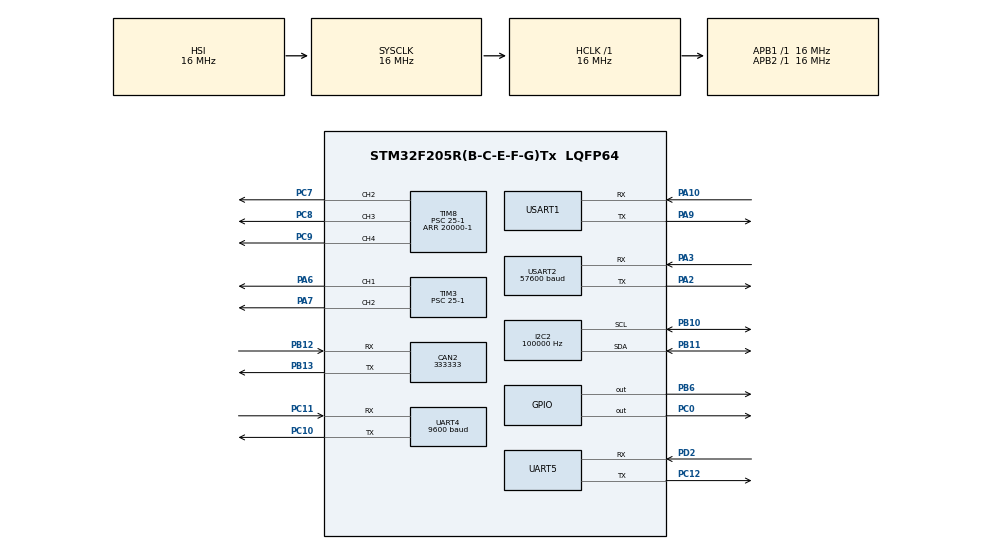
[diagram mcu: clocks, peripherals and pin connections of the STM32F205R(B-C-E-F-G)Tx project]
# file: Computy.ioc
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CAN2.CalculateBaudRate=333333
CAN2.CalculateTimeBit=3000
CAN2.CalculateTimeQuantum=1000.0
Dma.Request0=USART1_RX
Dma.USART1_RX.0.Direction=DMA_PERIPH_TO_MEMORY
Dma.USART1_RX.0.FIFOMode=DMA_FIFOMODE_DISABLE
Dma.USART1_RX.0.Instance=DMA2_Stream2
Dma.USART1_RX.0.MemDataAlignment=DMA_MDATAALIGN_BYTE
Dma.USART1_RX.0.MemInc=DMA_MINC_ENABLE
Dma.USART1_RX.0.Mode=DMA_CIRCULAR
Dma.USART1_RX.0.PeriphDataAlignment=DMA_PDATAALIGN_BYTE
Dma.USART1_RX.0.PeriphInc=DMA_PINC_DISABLE
Dma.USART1_RX.0.Priority=DMA_PRIORITY_VERY_HIGH
I2C2.ClockSpeed=100000
I2C2.DutyCycle=I2C_DUTYCYCLE_16_9
I2C2.I2C_Mode=I2C_Fast
I2C2.NoStretchMode=I2C_NOSTRETCH_DISABLE
Mcu.Family=STM32F2
Mcu.Name=STM32F205R(B-C-E-F-G)Tx
Mcu.Package=LQFP64
NVIC.DMA2_Stream2_IRQn=true\:0\:0\:false\:false\:true\:false\:true\:true
NVIC.PriorityGroup=NVIC_PRIORITYGROUP_4
NVIC.UART4_IRQn=true\:0\:0\:false\:false\:true\:true\:true\:true
NVIC.USART1_IRQn=true\:0\:0\:false\:false\:true\:true\:true\:true
NVIC.USART2_IRQn=true\:0\:0\:false\:false\:true\:true\:true\:true
PA10.Mode=Asynchronous
PA10.Signal=USART1_RX
PA13.Mode=Trace_Asynchronous_SW
PA13.Signal=SYS_JTMS-SWDIO
PA14.Mode=Trace_Asynchronous_SW
PA14.Signal=SYS_JTCK-SWCLK
PA2.Mode=Asynchronous
PA2.Signal=USART2_TX
PA3.Mode=Asynchronous
PA3.Signal=USART2_RX
PA6.Signal=S_TIM3_CH1
PA7.Signal=S_TIM3_CH2
PA9.Mode=Asynchronous
PA9.Signal=USART1_TX
PB10.GPIO_Pu=GPIO_PULLUP
PB10.GPIO_Speed=GPIO_SPEED_FREQ_LOW
PB10.Mode=I2C
PB10.Signal=I2C2_SCL
PB11.GPIO_Pu=GPIO_PULLUP
PB11.GPIO_Speed=GPIO_SPEED_FREQ_MEDIUM
PB11.Mode=I2C
PB11.Signal=I2C2_SDA
PB12.Mode=CAN_Activate
PB12.Signal=CAN2_RX
PB13.Mode=CAN_Activate
PB13.Signal=CAN2_TX
PB3.Mode=Trace_Asynchronous_SW
PB3.Signal=SYS_JTDO-SWO
PB6.GPIO_PuPd=GPIO_PULLUP
PB6.Signal=GPIO_Output
PC0.Signal=GPIO_Output
PC10.Mode=Asynchronous
PC10.Signal=UART4_TX
PC11.Mode=Asynchronous
PC11.Signal=UART4_RX
PC12.Mode=Asynchronous
PC12.Signal=UART5_TX
PC6.Signal=S_TIM8_CH1
PC7.Signal=S_TIM8_CH2
PC8.Signal=S_TIM8_CH3
PC9.Signal=S_TIM8_CH4
PD2.Mode=Asynchronous
PD2.Signal=UART5_RX
PH0-OSC_IN.Mode=HSE-External-Oscillator
PH0-OSC_IN.Signal=RCC_OSC_IN
PH1-OSC_OUT.Mode=HSE-External-Oscillator
PH1-OSC_OUT.Signal=RCC_OSC_OUT
ProjectManager.HeapSize=0x200
ProjectManager.StackSize=0x400
ProjectManager.TargetToolchain=STM32CubeIDE
RCC.48MHZClocksFreq_Value=48000000
RCC.AHBFreq_Value=16000000
RCC.APB1Freq_Value=16000000
RCC.APB1TimFreq_Value=16000000
RCC.APB2Freq_Value=16000000
RCC.APB2TimFreq_Value=16000000
RCC.CortexFreq_Value=16000000
RCC.HCLKFreq_Value=16000000
RCC.HSE_VALUE=25000000
RCC.HSI_VALUE=16000000
RCC.LSE_VALUE=32768
RCC.SYSCLKFreq_VALUE=16000000
RCC.VCOOutputFreq_Value=192000000
SH.S_TIM3_CH1.0=TIM3_CH1,PWM Generation1 CH1
SH.S_TIM3_CH2.0=TIM3_CH2,PWM Generation2 CH2
SH.S_TIM8_CH1.0=TIM8_CH1
SH.S_TIM8_CH2.0=TIM8_CH2,PWM Generation2 CH2
SH.S_TIM8_CH3.0=TIM8_CH3,PWM Generation3 CH3
SH.S_TIM8_CH4.0=TIM8_CH4,PWM Generation4 CH4
TIM2.Prescaler=25000-1
TIM3.Channel-PWM\ Generation1\ CH1=TIM_CHANNEL_1
TIM3.Channel-PWM\ Generation2\ CH2=TIM_CHANNEL_2
TIM3.Period=20000-1
TIM3.Prescaler=25-1
TIM3.Pulse-PWM\ Generation1\ CH1=1500
TIM3.Pulse-PWM\ Generation2\ CH2=1500
TIM8.Channel-PWM\ Generation2\ CH2=TIM_CHANNEL_2
TIM8.Channel-PWM\ Generation3\ CH3=TIM_CHANNEL_3
TIM8.Channel-PWM\ Generation4\ CH4=TIM_CHANNEL_4
TIM8.Period=20000-1
TIM8.Prescaler=25-1
TIM8.Pulse-PWM\ Generation2\ CH2=1500
TIM8.Pulse-PWM\ Generation3\ CH3=1500
TIM8.Pulse-PWM\ Generation4\ CH4=1500
UART4.BaudRate=9600
UART4.VirtualMode=Asynchronous
UART5.VirtualMode=Asynchronous
USART1.VirtualMode=VM_ASYNC
USART2.BaudRate=57600
USART2.VirtualMode=VM_ASYNC
VP_TIM2_VS_ClockSourceINT.Mode=Internal
VP_TIM3_VS_ClockSourceINT.Mode=Internal
VP_TIM8_VS_ClockSourceINT.Mode=Internal
board=custom

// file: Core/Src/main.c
/* USER CODE BEGIN Header */
/**
  ******************************************************************************
  * @file           : main.c
  * @brief          : Main program body
  ******************************************************************************<
  * @attention
  *
  * Copyright (c) 2025 STMicroelectronics.
  * All rights reserved.
  *
  * This software is licensed under terms that can be found in the LICENSE file
  * in the root directory of this software component.
  * If no LICENSE file comes with this software, it is provided AS-IS.
  *
  ******************************************************************************
  */
/* USER CODE END Header */
#include "main.h"

/* USER CODE BEGIN Includes */
#include "nmea_parse.h"
#include "bno055.h"
#include "quaternion.h"
#include "ibus.h"
#define ARM_MATH_CM3
#include "arm_math.h"
#include "kalman.h"
/* USER CODE END Includes */

CAN_HandleTypeDef hcan2;

I2C_HandleTypeDef hi2c2;

TIM_HandleTypeDef htim2;
TIM_HandleTypeDef htim3;
TIM_HandleTypeDef htim8;

UART_HandleTypeDef huart4;
UART_HandleTypeDef huart5;
UART_HandleTypeDef huart1;
UART_HandleTypeDef huart2;
DMA_HandleTypeDef hdma_usart1_rx;

/* USER CODE BEGIN PV */

// PARAMETERS
float kP_roll = 0.0110f;
float kI_roll = 0.0f;
float kD_roll = 0.0022f;
float kP_pitch = 0.0200f;
float kI_pitch = 0.0f;
float kD_pitch = 0.0040f;

float ELEVATOR_TRIM = 1472;
float AILERON_TRIM = 1472;
float RUDDER_TRIM = 1381;

uint16_t mission_n = 0;
float mission[50 * 3]; // max 50 missions with latitude, longitude and altitude

float radio_T = 0.030f;
float light_T = 1.000f;
float completion_r = 30.0f;

// COMMUNICATION VARIABLES

char rx_buff_gps[83]; // sentence buffer - NMEA messages are at most 82 chars long
char rx_char_gps;
int rx_i_gps = 0;
char nmea_sentence[83]; // actual sentence

GPS gps;
char lastMeasure[10];

uint8_t rx_buff_ibus[32]; // start - 14 channels - checksum (circular buffer)
uint16_t channels[14] = {1500, 1500, 1000, 1500, 0, 0, 0, 0, 0, 0, 0, 0, 0, 0};

uint8_t rx_buff_radio[10]; // package buffer: uint16_t header - uint16_t param_id - float value - 2x uint8_t checksum
char rx_char_radio;
int rx_i_radio = 0;

struct Packet p;

int16_t target_index = 0;

float target_lat = 0;
float target_long = 0;
float target_alt = 0;

// KALMAN FILTER

// Define two 2x2 matrices
float32_t dataA[4] = {1.0f, 2.0f,
                       3.0f, 4.0f};
float32_t dataB[4] = {5.0f, 6.0f,
                       7.0f, 8.0f};
float32_t dataC[4]; // output 2x2

// Matrix handles
arm_matrix_instance_f32 A, B, C;

/* USER CODE END PV */

void SystemClock_Config(void);
static void MX_GPIO_Init(void);
static void MX_DMA_Init(void);
static void MX_I2C2_Init(void);
static void MX_UART4_Init(void);
static void MX_TIM8_Init(void);
static void MX_TIM3_Init(void);
static void MX_USART1_UART_Init(void);
static void MX_TIM2_Init(void);
static void MX_CAN2_Init(void);
static void MX_USART2_UART_Init(void);
static void MX_UART5_Init(void);

int main(void)
{

  /* MCU Configuration--------------------------------------------------------*/

  /* Reset of all peripherals, Initializes the Flash interface and the Systick. */
  HAL_Init();

  /* Configure the system clock */
  SystemClock_Config();

  /* Initialize all configured peripherals */
  MX_GPIO_Init();
  MX_DMA_Init();
  MX_I2C2_Init();
  MX_UART4_Init();
  MX_TIM8_Init();
  MX_TIM3_Init();
  MX_USART1_UART_Init();
  MX_TIM2_Init();
  MX_CAN2_Init();
  MX_USART2_UART_Init();
  MX_UART5_Init();
  /* USER CODE BEGIN 2 */
  HAL_TIM_PWM_Start(&htim8, TIM_CHANNEL_2);
  HAL_TIM_PWM_Start(&htim8, TIM_CHANNEL_3);
  HAL_TIM_PWM_Start(&htim8, TIM_CHANNEL_4);

  HAL_TIM_PWM_Start(&htim3, TIM_CHANNEL_1);
  HAL_TIM_PWM_Start(&htim3, TIM_CHANNEL_2);

  HAL_TIM_Base_Start(&htim2);  // Start TIM2 in polling mode

  BNO055_Handle_t bno055;
  BNO055_Quaternion_t quat;
  BNO055_LinearAccel_t accel;
  BNO055_Euler_t euler;
  BNO055_AngularVelocity_t ang_vel;

  // Initialize BNO055
  HAL_Delay(500); // NECESSARY delay
  HAL_StatusTypeDef ret;
  ret = BNO055_Init(&bno055, &hi2c2, BNO055_I2C_ADDR1);

  if(ret != HAL_OK)
  {
      // Handle error
  }

  uint32_t error;

  // Set GNSS frequency to 10Hz
  const uint8_t gnss_10hz[] = {0xB5, 0x62, 0x06, 0x08, 0x06, 0x00, 0x64, 0x00, 0x01, 0x00, 0x01, 0x00, 0x7A, 0x12};
  const uint8_t gnss_5hz[]  = {0xB5, 0x62, 0x06, 0x08, 0x06, 0x00, 0xC8, 0x00, 0x01, 0x00, 0x01, 0x00, 0xF0, 0x0D};
  const uint8_t gnss_2hz[]  = {0xB5, 0x62, 0x06, 0x08, 0x06, 0x00, 0xF4, 0x01, 0x01, 0x00, 0x01, 0x00, 0x22, 0x6A};
  const uint8_t gnss_1hz[]  = {0xB5, 0x62, 0x06, 0x08, 0x06, 0x00, 0xE8, 0x03, 0x01, 0x00, 0x01, 0x00, 0x01, 0x39};

  HAL_UART_Transmit_IT(&huart4, gnss_2hz, 14);

  /* USER CODE END 2 */

  /* Infinite loop */
  /* USER CODE BEGIN WHILE */

  HAL_UART_Receive_DMA(&huart1, rx_buff_ibus, 32);
  HAL_UART_Receive_IT(&huart2, &rx_char_radio, 1);
  HAL_UART_Receive_IT(&huart4, &rx_char_gps, 1);

  uint32_t last_transmission = 0; // when was the last packet sent?
  uint32_t last_light_switch = 0; // when was the light last time toggled?

  // Axis remap necessary transformations
  struct Quaternion quat_axis_remap =     {0.0,  1.0f, 0.0, 0.0}; //  z -> -z,  y -> -y
  struct Quaternion quat_axis_remap_inv = {0.0, -1.0f, 0.0, 0.0}; // -z ->  z, -y ->  y
  struct Quaternion quat_rotate_azimuth = {0.70710678118, 0, 0, 0.70710678118}; // rotate azimuth by 90 deg
  struct Quaternion quat_raw;
  struct Quaternion temp;

  // acceleration in global coordinates
  float ax_global = 0.0f;
  float ay_global = 0.0f;
  float az_global = 0.0f;

  kalman_init();

  float bearing = 0.0f;

  uint8_t tx_buffer[2 + sizeof(p)];
  // packet header
  tx_buffer[0] = 'a';
  tx_buffer[1] = 'b';

  while (1)
  {
    /* USER CODE END WHILE */

    /* USER CODE BEGIN 3 */

	uint32_t ms = __HAL_TIM_GET_COUNTER(&htim2);
	float dt = ((float) (ms - p.time)) / 1000;
	p.time = ms;

	if (ms - last_light_switch >= 1000 * light_T){
		last_light_switch = ms;
		HAL_GPIO_TogglePin(GPIOC, GPIO_PIN_0);
	}

	if(ms - last_transmission >= 1000.0f * radio_T){

	    memcpy(tx_buffer + 2, &p, sizeof(p));
	    HAL_UART_Transmit(&huart2, tx_buffer, sizeof(tx_buffer), 100);
	    last_transmission = ms;

	}

	if(BNO055_ReadQuaternion(&bno055, &quat) == HAL_OK)
	{
	    // Use quaternion data (quat.w, quat.x, quat.y, quat.z)
		quat_raw.w = quat.w;
		quat_raw.x = quat.x;
		quat_raw.y = quat.y;
		quat_raw.z = quat.z;

		// Transform vector into original space (a_inv), apply q, transform back into re-mapped space (a)
		// a * q * a_inv
		temp = quaternion_multiply(&quat_axis_remap, &quat_raw);
		temp = quaternion_multiply(&temp, &quat_axis_remap_inv);

		// Rotate azimuth by 90 degrees, to align vector to NED
		temp = quaternion_multiply(&quat_rotate_azimuth, &temp);

		// Set quaternion
		p.quat = temp;

		BNO055_QuaternionToEuler(&p.quat, &euler);

	}

    // Read linear acceleration
    if(BNO055_ReadLinearAccel(&bno055, &accel) == HAL_OK)
    {
        // Use acceleration data (accel.x, accel.y, accel.z in m/s^2)
    	float raw_accel[3] = {accel.x, accel.y, accel.z};

    	// Calculate acceleration in global coordinates
		temp = quaternion_multiply(&quat_axis_remap, &quat_raw);
		temp = quaternion_multiply(&quat_rotate_azimuth, &temp);

    	struct Quaternion a_global = quaternion_transform_vector(&temp, raw_accel);

    	ax_global = a_global.x;
    	ay_global = a_global.y;
    	az_global = a_global.z;

    	// acceleration is no longer in packet!
    	//p.ax = ax_global;
    	//p.ay = ay_global;
    	//p.az = az_global;

    	//kalman_predict(dt, ax_global, ay_global, az_global);
    	//float kalman_latitude, kalman_longitude, kalman_height;
    	//kalman_result(&kalman_latitude, &kalman_longitude, &kalman_height);

    	//p.latitude = kalman_latitude;
    	//p.longitude = kalman_longitude;
    	//p.altitude = kalman_height;

    }

    if(BNO055_ReadAngularVelocity(&bno055, &ang_vel) == HAL_OK) {
    	p.p = ang_vel.x;
    	p.q = ang_vel.y;
    	p.r = ang_vel.z;
    }

    // Parse GPS
	nmea_parse(&gps, nmea_sentence);

	// Check if new measurement has been read
    if (gps.fix == 1 && strcmp(gps.lastMeasure, lastMeasure) != 0){
		strcpy(lastMeasure, gps.lastMeasure);

		p.latitude = gps.latitude;
		p.longitude = gps.longitude;
		p.altitude = gps.altitude;
		p.satellites = gps.satelliteCount;

		//kalman_update(gps.latitude, gps.longitude, gps.altitude);

		if (mission_n == 0){
			bearing = 0;
		}else {

			target_index = target_index % mission_n;

			target_lat  = mission[3*target_index + 0];
			target_long = mission[3*target_index + 1];
			target_alt  = mission[3*target_index + 2];

			// Calculate distance from target position
			float delta_x = (target_lat  - p.latitude)  / 360.0f * EARTH_CIRCUMFERENCE;
			float delta_y = (target_long - p.longitude) / 360.0f * EARTH_CIRCUMFERENCE * cos(target_lat / 180.0f * 3.1415);

			float distance_to_target = sqrt(delta_x*delta_x + delta_y*delta_y);

			// Objective complete if the aircraft is within completion_r meters
			if (distance_to_target < completion_r){
				target_index = (target_index + 1) % mission_n;
			}

			// Calculate bearing from target position and current position
			bearing = RAD2DEG * atan2(
					sin((target_long - p.longitude) / RAD2DEG) * cos(target_lat / RAD2DEG),
					cos(p.latitude / RAD2DEG) * sin(target_lat / RAD2DEG) - sin(p.latitude / RAD2DEG) * cos(target_lat / RAD2DEG) * cos((target_long - p.longitude)/RAD2DEG)
			);
		}
	}

    // Parse iBus
	parse_ibus(rx_buff_ibus, channels);

	// Choose control law
	// Mode 0 - Manual
	if      (channels[4] == 1000 && channels[5] == 1000 && channels[6] == 1000){
		p.mode = 0;
	}
	// Mode 1 - Take-off
	else if (channels[4] == 2000 && channels[5] == 1000 && channels[6] == 1000 && (p.mode == 0 || p.mode == 1)){
		p.mode = 1;

		// Also enter recovery mode if attitude control sticks are not centered
		if (abs(channels[0] - AILERON_TRIM) > 100){
			p.mode = 255;
		}
		if (abs(channels[1] - ELEVATOR_TRIM) > 100){
			p.mode = 255;
		}
		if 	(abs(channels[3] - RUDDER_TRIM) > 100){
			p.mode = 255;
		}
	}

	// Mode 3 - Automatic
	else if (channels[4] == 1000 && channels[5] == 1000 && channels[6] == 1500 && (p.mode == 0 || p.mode == 3)){
		p.mode = 3;

		// Also enter recovery mode if attitude control sticks are not centered
		if (abs(channels[0] - AILERON_TRIM) > 100){
			p.mode = 255;
		}
		if (abs(channels[1] - ELEVATOR_TRIM) > 100){
			p.mode = 255;
		}
		if (abs(channels[3] - RUDDER_TRIM) > 100){
			p.mode = 255;
		}
	}

	// Mode 255 - Recovery
	else {
		p.mode = 255;
	}

	// Respond to mode
	if (p.mode == 0 || p.mode == 255){
		// Map channels directly
	    for (int i = 0; i < 7; i++){
	    	p.channels[i] = channels[i];
	    }
	} else if (p.mode == 1){
		p.channels[0] = AILERON_TRIM  + (int16_t) (500.0f*((euler.roll*RAD2DEG  -  0.0f)*kP_roll  + (ang_vel.x)*kD_roll ));
		p.channels[1] = ELEVATOR_TRIM + (int16_t) (500.0f*((euler.pitch*RAD2DEG - 10.0f)*kP_pitch - (ang_vel.y)*kD_pitch));
		p.channels[3] = RUDDER_TRIM;

		// Map channels 4-7 directly
		for(int i = 4; i < 7; i++){
			p.channels[i] = channels[i];
		}
	} else if (p.mode == 3){
		// P controller for bearing
		float roll_target = 1.00f * (fmod(bearing - euler.yaw*RAD2DEG + 180, 360) - 180.0f);

		// Do not exceed 50 deg of roll
		if (roll_target > 50) {
			roll_target =  50;
		}else if (roll_target < -50){
			roll_target = -50;
		}

		float pitch_factor = cos(euler.roll);
		if (pitch_factor < 0.3){
			pitch_factor = 0.3;
		}

		float pitch_target = 4.0f + 50.0f * (1 - pitch_factor);

		p.channels[0] = AILERON_TRIM  + (int16_t) (500.0f*((euler.roll*RAD2DEG  -  roll_target)*kP_roll  + (ang_vel.x)*kD_roll ));
		p.channels[1] = ELEVATOR_TRIM + (int16_t) (500.0f*((euler.pitch*RAD2DEG - pitch_target)*kP_pitch - (ang_vel.y)*kD_pitch));
		p.channels[3] = RUDDER_TRIM;

		// Map channels 4-7 directly
		for(int i = 4; i < 7; i++){
			p.channels[i] = channels[i];
		}
	}

	// Limit channel values
	for (int i = 0; i < 7; i++){
		if (p.channels[i] < 1000){
			p.channels[i] = 1000;
		}
		if (p.channels[i] > 2000){
			p.channels[i] = 2000;
		}
	}

    // Apply actuation values
    TIM8->CCR2 = p.channels[0] - 500;
    TIM8->CCR3 = p.channels[1] - 500;
    TIM8->CCR4 = p.channels[2] - 500;

    TIM3->CCR1 = p.channels[3] - 500;
    TIM3->CCR2 = p.channels[4] - 500;

  }
  /* USER CODE END 3 */
}

void SystemClock_Config(void)
{
  RCC_OscInitTypeDef RCC_OscInitStruct = {0};
  RCC_ClkInitTypeDef RCC_ClkInitStruct = {0};

  /** Initializes the RCC Oscillators according to the specified parameters
  * in the RCC_OscInitTypeDef structure.
  */
  RCC_OscInitStruct.OscillatorType = RCC_OSCILLATORTYPE_HSI;
  RCC_OscInitStruct.HSIState = RCC_HSI_ON;
  RCC_OscInitStruct.HSICalibrationValue = RCC_HSICALIBRATION_DEFAULT;
  RCC_OscInitStruct.PLL.PLLState = RCC_PLL_NONE;
  if (HAL_RCC_OscConfig(&RCC_OscInitStruct) != HAL_OK)
  {
    Error_Handler();
  }

  /** Initializes the CPU, AHB and APB buses clocks
  */
  RCC_ClkInitStruct.ClockType = RCC_CLOCKTYPE_HCLK|RCC_CLOCKTYPE_SYSCLK
                              |RCC_CLOCKTYPE_PCLK1|RCC_CLOCKTYPE_PCLK2;
  RCC_ClkInitStruct.SYSCLKSource = RCC_SYSCLKSOURCE_HSI;
  RCC_ClkInitStruct.AHBCLKDivider = RCC_SYSCLK_DIV1;
  RCC_ClkInitStruct.APB1CLKDivider = RCC_HCLK_DIV1;
  RCC_ClkInitStruct.APB2CLKDivider = RCC_HCLK_DIV1;

  if (HAL_RCC_ClockConfig(&RCC_ClkInitStruct, FLASH_LATENCY_0) != HAL_OK)
  {
    Error_Handler();
  }
}

static void MX_CAN2_Init(void)
{

  hcan2.Instance = CAN2;
  hcan2.Init.Prescaler = 16;
  hcan2.Init.Mode = CAN_MODE_NORMAL;
  hcan2.Init.SyncJumpWidth = CAN_SJW_1TQ;
  hcan2.Init.TimeSeg1 = CAN_BS1_1TQ;
  hcan2.Init.TimeSeg2 = CAN_BS2_1TQ;
  hcan2.Init.TimeTriggeredMode = DISABLE;
  hcan2.Init.AutoBusOff = DISABLE;
  hcan2.Init.AutoWakeUp = DISABLE;
  hcan2.Init.AutoRetransmission = DISABLE;
  hcan2.Init.ReceiveFifoLocked = DISABLE;
  hcan2.Init.TransmitFifoPriority = DISABLE;
  if (HAL_CAN_Init(&hcan2) != HAL_OK)
  {
    Error_Handler();
  }

}

static void MX_I2C2_Init(void)
{

  hi2c2.Instance = I2C2;
  hi2c2.Init.ClockSpeed = 100000;
  hi2c2.Init.DutyCycle = I2C_DUTYCYCLE_16_9;
  hi2c2.Init.OwnAddress1 = 0;
  hi2c2.Init.AddressingMode = I2C_ADDRESSINGMODE_7BIT;
  hi2c2.Init.DualAddressMode = I2C_DUALADDRESS_DISABLE;
  hi2c2.Init.OwnAddress2 = 0;
  hi2c2.Init.GeneralCallMode = I2C_GENERALCALL_DISABLE;
  hi2c2.Init.NoStretchMode = I2C_NOSTRETCH_DISABLE;
  if (HAL_I2C_Init(&hi2c2) != HAL_OK)
  {
    Error_Handler();
  }

}

static void MX_TIM2_Init(void)
{

  TIM_ClockConfigTypeDef sClockSourceConfig = {0};
  TIM_MasterConfigTypeDef sMasterConfig = {0};

  htim2.Instance = TIM2;
  htim2.Init.Prescaler = 25000-1;
  htim2.Init.CounterMode = TIM_COUNTERMODE_UP;
  htim2.Init.Period = 4294967295;
  htim2.Init.ClockDivision = TIM_CLOCKDIVISION_DIV1;
  htim2.Init.AutoReloadPreload = TIM_AUTORELOAD_PRELOAD_DISABLE;
  if (HAL_TIM_Base_Init(&htim2) != HAL_OK)
  {
    Error_Handler();
  }
  sClockSourceConfig.ClockSource = TIM_CLOCKSOURCE_INTERNAL;
  if (HAL_TIM_ConfigClockSource(&htim2, &sClockSourceConfig) != HAL_OK)
  {
    Error_Handler();
  }
  sMasterConfig.MasterOutputTrigger = TIM_TRGO_RESET;
  sMasterConfig.MasterSlaveMode = TIM_MASTERSLAVEMODE_DISABLE;
  if (HAL_TIMEx_MasterConfigSynchronization(&htim2, &sMasterConfig) != HAL_OK)
  {
    Error_Handler();
  }

}

static void MX_TIM3_Init(void)
{

  TIM_ClockConfigTypeDef sClockSourceConfig = {0};
  TIM_MasterConfigTypeDef sMasterConfig = {0};
  TIM_OC_InitTypeDef sConfigOC = {0};

  htim3.Instance = TIM3;
  htim3.Init.Prescaler = 25-1;
  htim3.Init.CounterMode = TIM_COUNTERMODE_UP;
  htim3.Init.Period = 20000-1;
  htim3.Init.ClockDivision = TIM_CLOCKDIVISION_DIV1;
  htim3.Init.AutoReloadPreload = TIM_AUTORELOAD_PRELOAD_DISABLE;
  if (HAL_TIM_Base_Init(&htim3) != HAL_OK)
  {
    Error_Handler();
  }
  sClockSourceConfig.ClockSource = TIM_CLOCKSOURCE_INTERNAL;
  if (HAL_TIM_ConfigClockSource(&htim3, &sClockSourceConfig) != HAL_OK)
  {
    Error_Handler();
  }
  if (HAL_TIM_PWM_Init(&htim3) != HAL_OK)
  {
    Error_Handler();
  }
  sMasterConfig.MasterOutputTrigger = TIM_TRGO_RESET;
  sMasterConfig.MasterSlaveMode = TIM_MASTERSLAVEMODE_DISABLE;
  if (HAL_TIMEx_MasterConfigSynchronization(&htim3, &sMasterConfig) != HAL_OK)
  {
    Error_Handler();
  }
  sConfigOC.OCMode = TIM_OCMODE_PWM1;
  sConfigOC.Pulse = 1500;
  sConfigOC.OCPolarity = TIM_OCPOLARITY_HIGH;
  sConfigOC.OCFastMode = TIM_OCFAST_DISABLE;
  if (HAL_TIM_PWM_ConfigChannel(&htim3, &sConfigOC, TIM_CHANNEL_1) != HAL_OK)
  {
    Error_Handler();
  }
  if (HAL_TIM_PWM_ConfigChannel(&htim3, &sConfigOC, TIM_CHANNEL_2) != HAL_OK)
  {
    Error_Handler();
  }
  HAL_TIM_MspPostInit(&htim3);

}

static void MX_TIM8_Init(void)
{

  TIM_ClockConfigTypeDef sClockSourceConfig = {0};
  TIM_MasterConfigTypeDef sMasterConfig = {0};
  TIM_OC_InitTypeDef sConfigOC = {0};
  TIM_BreakDeadTimeConfigTypeDef sBreakDeadTimeConfig = {0};

  htim8.Instance = TIM8;
  htim8.Init.Prescaler = 25-1;
  htim8.Init.CounterMode = TIM_COUNTERMODE_UP;
  htim8.Init.Period = 20000-1;
  htim8.Init.ClockDivision = TIM_CLOCKDIVISION_DIV1;
  htim8.Init.RepetitionCounter = 0;
  htim8.Init.AutoReloadPreload = TIM_AUTORELOAD_PRELOAD_DISABLE;
  if (HAL_TIM_Base_Init(&htim8) != HAL_OK)
  {
    Error_Handler();
  }
  sClockSourceConfig.ClockSource = TIM_CLOCKSOURCE_INTERNAL;
  if (HAL_TIM_ConfigClockSource(&htim8, &sClockSourceConfig) != HAL_OK)
  {
    Error_Handler();
  }
  if (HAL_TIM_PWM_Init(&htim8) != HAL_OK)
  {
    Error_Handler();
  }
  sMasterConfig.MasterOutputTrigger = TIM_TRGO_RESET;
  sMasterConfig.MasterSlaveMode = TIM_MASTERSLAVEMODE_DISABLE;
  if (HAL_TIMEx_MasterConfigSynchronization(&htim8, &sMasterConfig) != HAL_OK)
  {
    Error_Handler();
  }
  sConfigOC.OCMode = TIM_OCMODE_PWM1;
  sConfigOC.Pulse = 1500;
  sConfigOC.OCPolarity = TIM_OCPOLARITY_HIGH;
  sConfigOC.OCNPolarity = TIM_OCNPOLARITY_HIGH;
  sConfigOC.OCFastMode = TIM_OCFAST_DISABLE;
  sConfigOC.OCIdleState = TIM_OCIDLESTATE_RESET;
  sConfigOC.OCNIdleState = TIM_OCNIDLESTATE_RESET;
  if (HAL_TIM_PWM_ConfigChannel(&htim8, &sConfigOC, TIM_CHANNEL_2) != HAL_OK)
  {
    Error_Handler();
  }
  if (HAL_TIM_PWM_ConfigChannel(&htim8, &sConfigOC, TIM_CHANNEL_3) != HAL_OK)
  {
    Error_Handler();
  }
  if (HAL_TIM_PWM_ConfigChannel(&htim8, &sConfigOC, TIM_CHANNEL_4) != HAL_OK)
  {
    Error_Handler();
  }
  sBreakDeadTimeConfig.OffStateRunMode = TIM_OSSR_DISABLE;
  sBreakDeadTimeConfig.OffStateIDLEMode = TIM_OSSI_DISABLE;
  sBreakDeadTimeConfig.LockLevel = TIM_LOCKLEVEL_OFF;
  sBreakDeadTimeConfig.DeadTime = 0;
  sBreakDeadTimeConfig.BreakState = TIM_BREAK_DISABLE;
  sBreakDeadTimeConfig.BreakPolarity = TIM_BREAKPOLARITY_HIGH;
  sBreakDeadTimeConfig.AutomaticOutput = TIM_AUTOMATICOUTPUT_DISABLE;
  if (HAL_TIMEx_ConfigBreakDeadTime(&htim8, &sBreakDeadTimeConfig) != HAL_OK)
  {
    Error_Handler();
  }
  HAL_TIM_MspPostInit(&htim8);

}

static void MX_UART4_Init(void)
{

  huart4.Instance = UART4;
  huart4.Init.BaudRate = 9600;
  huart4.Init.WordLength = UART_WORDLENGTH_8B;
  huart4.Init.StopBits = UART_STOPBITS_1;
  huart4.Init.Parity = UART_PARITY_NONE;
  huart4.Init.Mode = UART_MODE_TX_RX;
  huart4.Init.HwFlowCtl = UART_HWCONTROL_NONE;
  huart4.Init.OverSampling = UART_OVERSAMPLING_16;
  if (HAL_UART_Init(&huart4) != HAL_OK)
  {
    Error_Handler();
  }

}

static void MX_UART5_Init(void)
{

  huart5.Instance = UART5;
  huart5.Init.BaudRate = 115200;
  huart5.Init.WordLength = UART_WORDLENGTH_8B;
  huart5.Init.StopBits = UART_STOPBITS_1;
  huart5.Init.Parity = UART_PARITY_NONE;
  huart5.Init.Mode = UART_MODE_TX_RX;
  huart5.Init.HwFlowCtl = UART_HWCONTROL_NONE;
  huart5.Init.OverSampling = UART_OVERSAMPLING_16;
  if (HAL_UART_Init(&huart5) != HAL_OK)
  {
    Error_Handler();
  }

}

static void MX_USART1_UART_Init(void)
{

  huart1.Instance = USART1;
  huart1.Init.BaudRate = 115200;
  huart1.Init.WordLength = UART_WORDLENGTH_8B;
  huart1.Init.StopBits = UART_STOPBITS_1;
  huart1.Init.Parity = UART_PARITY_NONE;
  huart1.Init.Mode = UART_MODE_TX_RX;
  huart1.Init.HwFlowCtl = UART_HWCONTROL_NONE;
  huart1.Init.OverSampling = UART_OVERSAMPLING_16;
  if (HAL_UART_Init(&huart1) != HAL_OK)
  {
    Error_Handler();
  }

}

static void MX_USART2_UART_Init(void)
{

  huart2.Instance = USART2;
  huart2.Init.BaudRate = 57600;
  huart2.Init.WordLength = UART_WORDLENGTH_8B;
  huart2.Init.StopBits = UART_STOPBITS_1;
  huart2.Init.Parity = UART_PARITY_NONE;
  huart2.Init.Mode = UART_MODE_TX_RX;
  huart2.Init.HwFlowCtl = UART_HWCONTROL_NONE;
  huart2.Init.OverSampling = UART_OVERSAMPLING_16;
  if (HAL_UART_Init(&huart2) != HAL_OK)
  {
    Error_Handler();
  }

}

static void MX_DMA_Init(void)
{

  /* DMA controller clock enable */
  __HAL_RCC_DMA2_CLK_ENABLE();

  /* DMA interrupt init */
  /* DMA2_Stream2_IRQn interrupt configuration */
  HAL_NVIC_SetPriority(DMA2_Stream2_IRQn, 0, 0);
  HAL_NVIC_EnableIRQ(DMA2_Stream2_IRQn);

}

static void MX_GPIO_Init(void)
{
  GPIO_InitTypeDef GPIO_InitStruct = {0};

  /* GPIO Ports Clock Enable */
  __HAL_RCC_GPIOH_CLK_ENABLE();
  __HAL_RCC_GPIOC_CLK_ENABLE();
  __HAL_RCC_GPIOA_CLK_ENABLE();
  __HAL_RCC_GPIOB_CLK_ENABLE();
  __HAL_RCC_GPIOD_CLK_ENABLE();

  /*Configure GPIO pin Output Level */
  HAL_GPIO_WritePin(GPIOC, GPIO_PIN_0, GPIO_PIN_RESET);

  /*Configure GPIO pin Output Level */
  HAL_GPIO_WritePin(GPIOB, GPIO_PIN_6, GPIO_PIN_RESET);

  /*Configure GPIO pin : PC0 */
  GPIO_InitStruct.Pin = GPIO_PIN_0;
  GPIO_InitStruct.Mode = GPIO_MODE_OUTPUT_PP;
  GPIO_InitStruct.Pull = GPIO_NOPULL;
  GPIO_InitStruct.Speed = GPIO_SPEED_FREQ_LOW;
  HAL_GPIO_Init(GPIOC, &GPIO_InitStruct);

  /*Configure GPIO pin : PB6 */
  GPIO_InitStruct.Pin = GPIO_PIN_6;
  GPIO_InitStruct.Mode = GPIO_MODE_OUTPUT_PP;
  GPIO_InitStruct.Pull = GPIO_PULLUP;
  GPIO_InitStruct.Speed = GPIO_SPEED_FREQ_LOW;
  HAL_GPIO_Init(GPIOB, &GPIO_InitStruct);

  /* USER CODE BEGIN MX_GPIO_Init_2 */
  __HAL_RCC_USART6_CLK_ENABLE();
  /* USER CODE END MX_GPIO_Init_2 */
}

/* USER CODE BEGIN 4 */

void HAL_UART_RxCpltCallback(UART_HandleTypeDef *huart)
{

	if(huart->Instance == USART1){
		// Do nothig - we are using circular buffer
	} else if (huart->Instance == USART2){

		HAL_UART_Receive_IT(&huart2, &rx_char_radio, 1);

		if(rx_char_radio == 'b' && rx_buff_radio[rx_i_radio] == 'a'){
			// header detected
			rx_buff_radio[0] = 'a';
			rx_buff_radio[1] = 'b';

			rx_i_radio = 1;
		} else {
			// header not detected

			rx_i_radio += 1;
			rx_i_radio = rx_i_radio % sizeof(rx_buff_radio);

			rx_buff_radio[rx_i_radio] = rx_char_radio;

		}

		if ((rx_i_radio == sizeof(rx_buff_radio) - 1) && rx_buff_radio[0] == 'a' && rx_buff_radio[1] == 'b'){

			uint8_t checksum1 = rx_buff_radio[0] ^ rx_buff_radio[2] ^ rx_buff_radio[4] ^ rx_buff_radio[6];
			uint8_t checksum2 = rx_buff_radio[1] ^ rx_buff_radio[3] ^ rx_buff_radio[5] ^ rx_buff_radio[7];

			if(checksum1 != rx_buff_radio[8] || checksum2 != rx_buff_radio[9]){
				return;
			}

			float param_value = *((float*) (&rx_buff_radio[4]));
			uint16_t param_index = *((uint16_t*) (&rx_buff_radio[2]));

			switch (param_index) {
				case 0:
					kP_roll = param_value;
					break;
				case 1:
					kI_roll = param_value;
					break;
				case 2:
					kD_roll = param_value;
					break;
				case 3:
					kP_pitch = param_value;
					break;
				case 4:
					kI_pitch = param_value;
					break;
				case 5:
					kD_pitch = param_value;
					break;
				case 10:
					ELEVATOR_TRIM = param_value;
					break;
				case 11:
					AILERON_TRIM = param_value;
					break;
				case 12:
					RUDDER_TRIM = param_value;
					break;
				case 100:
					mission_n = (uint16_t) param_value;
					target_index = 0;
					break;
				case 254:
					radio_T = param_value;
					break;
				case 255:
					light_T = param_value;
					break;
				case 256:
					completion_r = param_value;
					break;
			}

			// mission positions
			if (param_index >= 101 && param_index <= 253){
				mission[param_index - 101] = param_value;
			}

		}

	} else if(huart->Instance == UART4){

		HAL_UART_Receive_IT(&huart4, &rx_char_gps, 1);

		// Handle GPS RX
		if(rx_char_gps == '$'){
			rx_buff_gps[rx_i_gps + 1] = '\r';
			rx_buff_gps[rx_i_gps + 2] = '\n';
			rx_buff_gps[rx_i_gps + 3] = '\0';

			rx_i_gps = 0;

			memcpy(nmea_sentence, rx_buff_gps, 83);

			for (int i = 0; i < 83; i++){
				rx_buff_gps[i] = '\0';
			}

		}

		if(rx_i_gps >= 83){
			rx_i_gps = 0;
		}

		rx_buff_gps[rx_i_gps] = rx_char_gps;
		rx_i_gps += 1;
	}
}

int __io_putchar(int ch)
{
 // Write character to ITM ch.0
 ITM_SendChar(ch);
 return(ch);
}

void HAL_UART_ErrorCallback(UART_HandleTypeDef *huart)
{
	if (huart->Instance == USART1)
	{
			HAL_UART_Receive_DMA(&huart1, rx_buff_ibus, 32); // restart DMA to be safe, radio interference sometimes causes the error
	}
}

/* USER CODE END 4 */

void Error_Handler(void)
{
  __disable_irq();
  while (1)
  {
  }
}
